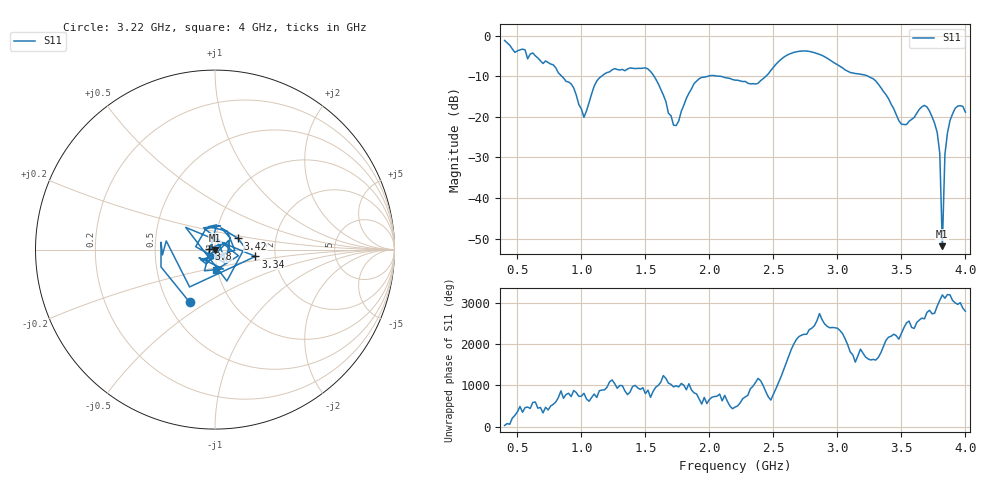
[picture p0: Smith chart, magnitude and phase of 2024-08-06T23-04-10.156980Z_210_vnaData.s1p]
!Created with skrf (http://scikit-rf.org).
# Hz S RI R 50.0
!freq ReS11 ImS11
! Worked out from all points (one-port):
!   181 points, 400 MHz to 4 GHz, reference 50 ohm
!   lowest |S11| = -51.9 dB at 3.82 GHz (marker M1), VSWR 1.01, Z = 50.1 - j0.207 ohm
!   |S11| at or under -10 dB: 1.567 GHz to 1.99 GHz (422.5 MHz wide, 23.8 % of centre); 2.077 GHz to 2.442 GHz (364 MHz wide, 16.1 % of centre); 3.24 GHz to end of sweep (the widest 3 of 4)
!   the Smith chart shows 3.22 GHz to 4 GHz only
!   S11 on the Smith chart (normalised r, x): 3.22 GHz: 0.64, -0.42; 3.34 GHz: 1.58, -0.13; 3.42 GHz: 1.28, +0.16; 3.8 GHz: 0.93, +0.00; 4 GHz: 0.98, -0.23
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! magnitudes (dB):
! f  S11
! 400 MHz  -1.2
! 860 MHz  -10.4
! 940 MHz  -12.9
! 1.02 GHz  -20.1
! 1.12 GHz  -11.2
! 1.3 GHz  -8.5
! 1.52 GHz  -8.2
! 1.6 GHz  -11.8
! 1.72 GHz  -22.1
! 1.76 GHz  -21.1
! 1.92 GHz  -10.6
! 2.2 GHz  -11.0
! 2.38 GHz  -11.8
! 2.66 GHz  -4.1
! 3.1 GHz  -9.1
! 3.22 GHz  -9.7
! 3.34 GHz  -12.8
! 3.42 GHz  -16.9
! 3.5 GHz  -21.8
! 3.56 GHz  -21.1
! 3.7 GHz  -17.6
! 3.78 GHz  -23.9
! 3.8 GHz  -29.0
! 3.82 GHz  -51.9
! 3.84 GHz  -29.3
! 3.86 GHz  -24.0
! 3.92 GHz  -17.9
! 4 GHz  -18.9
